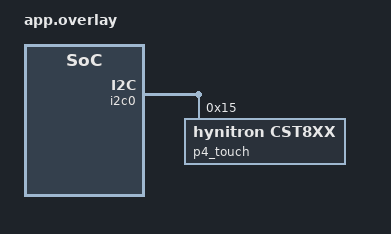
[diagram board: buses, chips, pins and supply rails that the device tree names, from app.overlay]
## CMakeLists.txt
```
# SPDX-License-Identifier: Apache-2.0
cmake_minimum_required(VERSION 3.20.0)
find_package(Zephyr REQUIRED HINTS $ENV{ZEPHYR_BASE})
project(entelea_p4_touch)

target_include_directories(app PRIVATE ../p4touchid/src)
target_sources(app PRIVATE src/main.c src/events.c ../p4touchid/src/probe.c)
```

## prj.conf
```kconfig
# SPDX-License-Identifier: Apache-2.0
CONFIG_TS_CORE=n
CONFIG_I2C=y
CONFIG_INPUT=y
CONFIG_INPUT_CST8XX=y
CONFIG_INPUT_CST8XX_INTERRUPT=n
CONFIG_INPUT_CST8XX_PERIOD_MS=50
CONFIG_MAIN_STACK_SIZE=2048
CONFIG_INPUT_THREAD_STACK_SIZE=2048
```

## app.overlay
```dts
/* SPDX-License-Identifier: Apache-2.0 */

&i2c0 {
	p4_touch: touchscreen@15 {
		compatible = "hynitron,cst8xx";
		reg = <0x15>;
		screen-width = <460>;
		screen-height = <460>;
		zephyr,deferred-init;
	};
};
```

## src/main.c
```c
// SPDX-License-Identifier: Apache-2.0
#include <zephyr/devicetree.h>
#include <zephyr/drivers/i2c.h>
#include <zephyr/input/input.h>
#include <zephyr/kernel.h>
#include <zephyr/sys/atomic.h>

#include "events.h"
#include "probe.h"

#define TOUCH_DEVICE DEVICE_DT_GET(DT_NODELABEL(p4_touch))
#define TOUCH_PAIRS 5
#define TOUCH_TIMEOUT_SECONDS 300

static K_SEM_DEFINE(completed, 0, TOUCH_PAIRS);
static K_SEM_DEFINE(armed, 0, 1);
static atomic_t running;
static atomic_t failed;
static struct touch_state state;
static bool aligned;

static int report_raw(const struct device *bus, const char *phase)
{
	uint8_t report[7];
	int ret;

	ret = i2c_burst_read(bus, 0x15, 0x00, report, sizeof(report));
	if (ret) {
		printk("P4TOUCH FAIL raw phase=%s rc=%d\n", phase, ret);
		return ret;
	}
	printk("P4TOUCH RAW phase=%s data=%02x,%02x,%02x,%02x,%02x,%02x,%02x\n", phase, report[0],
	       report[1], report[2], report[3], report[4], report[5], report[6]);
	return 0;
}

static void touch_callback(struct input_event *event, void *user_data)
{
	int result;

	ARG_UNUSED(user_data);
	if (!atomic_get(&running)) {
		return;
	}
	if (!aligned) {
		if (event->type == INPUT_EV_KEY && event->code == INPUT_BTN_TOUCH &&
		    event->value == 0) {
			aligned = true;
			k_sem_give(&armed);
		}
		return;
	}
	result = touch_event_apply(&state, event->type, event->code, event->value);
	if (result < 0) {
		printk("P4TOUCH FAIL event rc=%d x=%d y=%d\n", result, state.x, state.y);
		atomic_set(&failed, 1);
		k_sem_give(&completed);
	} else if (result == TOUCH_DOWN) {
		printk("P4TOUCH DOWN x=%d y=%d\n", state.x, state.y);
	} else if (result == TOUCH_MOVE) {
		printk("P4TOUCH MOVE x=%d y=%d\n", state.x, state.y);
	} else if (result == TOUCH_UP) {
		printk("P4TOUCH UP\n");
		k_sem_give(&completed);
	}
}

INPUT_CALLBACK_DEFINE(TOUCH_DEVICE, touch_callback, NULL);

int main(void)
{
	const struct device *bus = DEVICE_DT_GET(DT_NODELABEL(i2c0));
	uint8_t id = 0;
	int ret;
	int64_t deadline;

	printk("P4TOUCH START display=0 reset=0 poll_ms=50\n");
	ret = p4_touch_id_probe(bus, &id);
	if (ret) {
		printk("P4TOUCH FAIL id rc=%d\n", ret);
		return 1;
	}
	ret = report_raw(bus, "before_init");
	if (ret) {
		return 1;
	}
	ret = device_init(TOUCH_DEVICE);
	if (ret) {
		printk("P4TOUCH FAIL init rc=%d\n", ret);
		return 1;
	}
	if (!device_is_ready(TOUCH_DEVICE)) {
		printk("P4TOUCH FAIL device not ready\n");
		return 1;
	}
	atomic_set(&running, 1);
	if (k_sem_take(&armed, K_SECONDS(3))) {
		atomic_clear(&running);
		report_raw(bus, "idle_timeout");
		printk("P4TOUCH FAIL waiting for idle event\n");
		return 1;
	}
	if (atomic_get(&failed)) {
		atomic_clear(&running);
		return 1;
	}
	printk("P4TOUCH READY id=0x%02x pairs=%d timeout_s=%d\n", id, TOUCH_PAIRS,
	       TOUCH_TIMEOUT_SECONDS);
	deadline = k_uptime_get() + TOUCH_TIMEOUT_SECONDS * 1000;
	for (int i = 0; i < TOUCH_PAIRS; i++) {
		int64_t remaining = deadline - k_uptime_get();

		if (remaining <= 0 || k_sem_take(&completed, K_MSEC(remaining))) {
			printk("P4TOUCH FAIL timeout completed=%d\n", i);
			atomic_clear(&running);
			return 1;
		}
		if (atomic_get(&failed)) {
			atomic_clear(&running);
			return 1;
		}
		printk("P4TOUCH PAIR %d/%d\n", i + 1, TOUCH_PAIRS);
	}
	atomic_clear(&running);
	printk("P4TOUCH PASS pairs=%d\n", TOUCH_PAIRS);
	return 0;
}
```

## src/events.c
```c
// SPDX-License-Identifier: Apache-2.0
#include <errno.h>
#include <zephyr/dt-bindings/input/input-event-codes.h>

#include "events.h"

#define TOUCH_WIDTH 460
#define TOUCH_HEIGHT 460

int touch_event_apply(struct touch_state *state, uint8_t type, uint16_t code, int32_t value)
{
	int result;

	if (type == INPUT_EV_ABS && code == INPUT_ABS_X) {
		state->x = value;
		state->have_x = true;
		return TOUCH_NONE;
	}
	if (type == INPUT_EV_ABS && code == INPUT_ABS_Y) {
		state->y = value;
		state->have_y = true;
		return TOUCH_NONE;
	}
	if (type != INPUT_EV_KEY || code != INPUT_BTN_TOUCH) {
		return TOUCH_NONE;
	}
	if (value != 0 && value != 1) {
		return -EINVAL;
	}
	if (!value) {
		state->have_x = false;
		state->have_y = false;
		result = state->pressed ? TOUCH_UP : TOUCH_NONE;
		state->pressed = false;
		return result;
	}
	if (!state->have_x || !state->have_y) {
		return -EPROTO;
	}
	state->have_x = false;
	state->have_y = false;
	if (state->x < 0 || state->x >= TOUCH_WIDTH || state->y < 0 || state->y >= TOUCH_HEIGHT) {
		return -ERANGE;
	}
	result = !state->pressed					    ? TOUCH_DOWN
		 : (state->x != state->last_x || state->y != state->last_y) ? TOUCH_MOVE
									    : TOUCH_NONE;
	state->pressed = true;
	state->last_x = state->x;
	state->last_y = state->y;
	return result;
}
```

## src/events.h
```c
/* SPDX-License-Identifier: Apache-2.0 */
#ifndef P4_TOUCH_EVENTS_H_
#define P4_TOUCH_EVENTS_H_

#include <stdbool.h>
#include <stdint.h>

enum touch_result {
	TOUCH_NONE,
	TOUCH_DOWN,
	TOUCH_MOVE,
	TOUCH_UP,
};

struct touch_state {
	int32_t x;
	int32_t y;
	int32_t last_x;
	int32_t last_y;
	bool have_x;
	bool have_y;
	bool pressed;
};

int touch_event_apply(struct touch_state *state, uint8_t type, uint16_t code, int32_t value);

#endif
```
